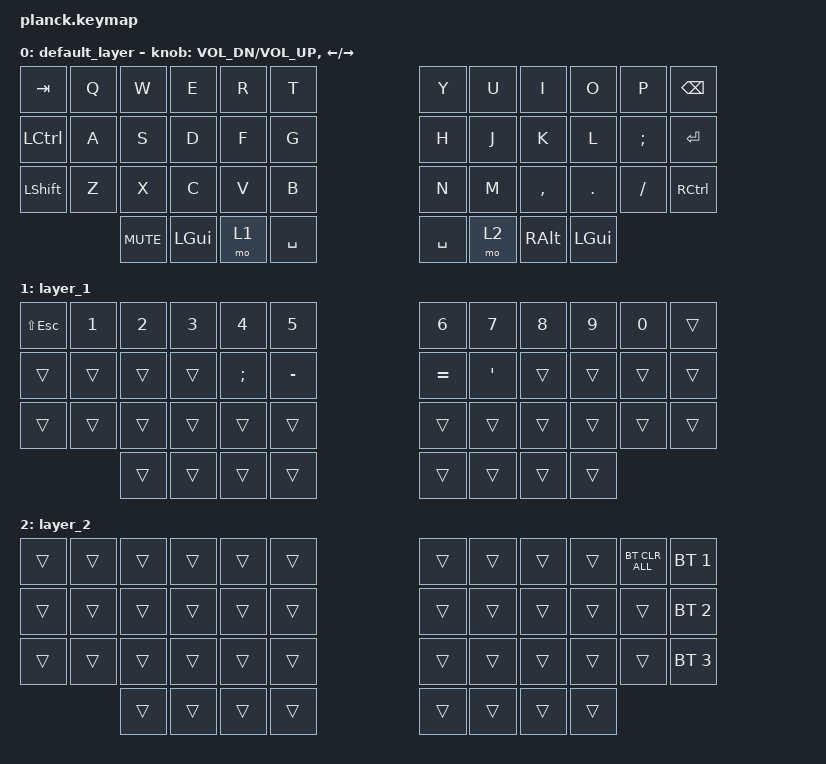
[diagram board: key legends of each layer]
#include <behaviors.dtsi>
#include <dt-bindings/zmk/bt.h>
#include <dt-bindings/zmk/keys.h>

// / {
//     chosen {
//         zmk,physical-layout = &matrix_physical_layout;
//     };
// };

/ {
    keymap {
        compatible = "zmk,keymap";

        default_layer {
            // --------------------------------------------------------------------------------------------------------------------------------------------------------------------
            // |   ESC   |    Q    |    W    |    E    |    R    |    T    |                                          |    Y    |    U    |    I    |    O    |    P    |    \    |
            // |   TAB   |    A    |    S    |    D    |    F    |    G    |                                          |    H    |    J    |    K    |    L    |    ;    |    '    |
            // |  SHIFT  |    Z    |    X    |    C    |    V    |    B    | CTRL+A  | CTRL+C  |  |  CTRL+V |  CTRL+X |    N    |    M    |    ,    |    .    |    /    |  R CTRL |
            //                               |   GUI   |   DEL   | RETURN  |  SPACE  | ESCAPE  |  |  RETURN |  SPACE  |   TAB   |   BSPC  |  R ALT  |

            bindings = <
&kp TAB    &kp Q  &kp W       &kp E     &kp R  &kp T      &kp Y      &kp U  &kp I      &kp O     &kp P     &kp BACKSPACE
&kp LCTRL  &kp A  &kp S       &kp D     &kp F  &kp G      &kp H      &kp J  &kp K      &kp L     &kp SEMI  &kp ENTER
&kp LSHFT  &kp Z  &kp X       &kp C     &kp V  &kp B      &kp N      &kp M  &kp COMMA  &kp DOT   &kp FSLH  &kp RCTRL
                  &kp C_MUTE  &kp LGUI  &mo 1  &kp SPACE  &kp SPACE  &mo 2  &kp RALT   &kp LGUI
            >;

            sensor-bindings =
                <&inc_dec_kp C_VOL_DN C_VOL_UP>,
                <&inc_dec_kp LEFT_ARROW RIGHT_ARROW>;
        };

        layer_1 {
            bindings = <
&kp LS(ESCAPE)  &kp NUMBER_1  &kp NUMBER_2  &kp NUMBER_3  &kp NUMBER_4   &kp NUMBER_5  &kp NUMBER_6  &kp NUMBER_7      &kp NUMBER_8  &kp NUMBER_9  &kp NUMBER_0  &trans
&trans          &trans        &trans        &trans        &kp SEMICOLON  &kp MINUS     &kp EQUAL     &kp SINGLE_QUOTE  &trans        &trans        &trans        &trans
&trans          &trans        &trans        &trans        &trans         &trans        &trans        &trans            &trans        &trans        &trans        &trans
                              &trans        &trans        &trans         &trans        &trans        &trans            &trans        &trans
            >;
        };

        layer_2 {
            bindings = <
&trans  &trans  &trans  &trans  &trans  &trans  &trans  &trans  &trans  &trans  &bt BT_CLR_ALL  &bt BT_SEL 1
&trans  &trans  &trans  &trans  &trans  &trans  &trans  &trans  &trans  &trans  &trans          &bt BT_SEL 2
&trans  &trans  &trans  &trans  &trans  &trans  &trans  &trans  &trans  &trans  &trans          &bt BT_SEL 3
                &trans  &trans  &trans  &trans  &trans  &trans  &trans  &trans
            >;
        };
    };
};

&sensors {
    triggers-per-rotation = <5 10>;
};
